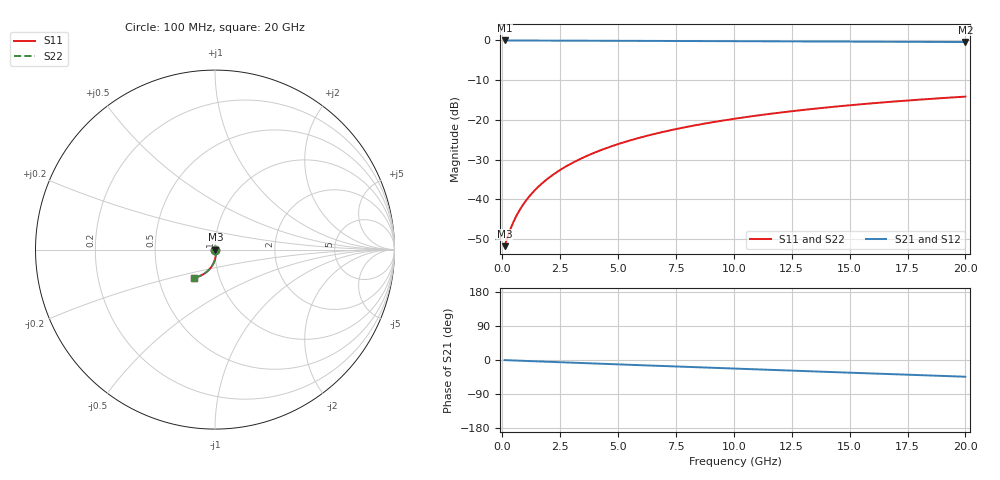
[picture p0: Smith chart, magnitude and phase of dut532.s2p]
! Touchstone file exported from HFSS 2026.1.0
!  File:  C:/ffzhzh/LocalFiles/Ansys_Project_Files/temp_train_BSMRDL_532_1783014789_46388.aedt
!  Generated:  01:54:22 AM Jul  3, 2026
!  Design:  BSMRDL
!  Project:  temp_train_BSMRDL_532_1783014789_46388
! Variables:
!  h_bsmrdl = 5.85um
!  h_ox = 20um
!  h_rdl = 5um
!  h_sub = 80um
!  h_tmrdl = 5um
!  h_tsv = 80um
!  h_via = 3um
!  l_bsmrdl = 774.85um
!  l_sub = 1174.85um
!  l_tmrdl = 200um
!  m_sub = 200um
!  pitch = 24.05um
!  r_tsv = 6um
!  s_tmrdl = 10um
!  w_bsmrdl = 21.18um
!  w_sub = 500um
!  w_tmrdl = 12um
!  x_tsv_center1 = 206um
!  x_tsv_center2 = 1002.03um
!  x_tsv_center3 = 1214.03um
!  x_tsv_center4 = 2010.06um
!  x_tsv_center5 = 2222.06um
!  x_tsv_center6 = 3018.09um
# GHz S MA R 50.000000
! Terminal data exported
! Port[1] = BSM_RDL1_1_T1
! Port[2] = BSM_RDL1_1_T2
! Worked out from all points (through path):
!   200 points, 100 MHz to 20 GHz, reference 50 ohm
!   highest |S21| = -0.02 dB at 100 MHz (marker M1); lowest = -0.4 dB at 20 GHz (marker M2)
!   group delay of S21, straight-line fit = 6.1 ps
!   lowest |S11| = -51.8 dB at 100 MHz (marker M3), VSWR 1.01, Z = 50.3 - j0.0141 ohm
!   |S11| at or under -10 dB: start of sweep to end of sweep
!   |S22| runs from -51.8 to -14.1 dB; largest |S21 - S12| = 4.6e-15
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0.1  0.002583 -3.1  0.9974 -0.3  0.9974 -0.3  0.002583 -3.1
! Gamma 0 0 0 0
! Port Impedance 50 0 50 0
0.3  0.00387 -22.7  0.9964 -0.8  0.9964 -0.8  0.00387 -22.7
0.4  0.004597 -32.2  0.9961 -1.0  0.9961 -1.0  0.004597 -32.2
0.6  0.006136 -46.1  0.9956 -1.5  0.9956 -1.5  0.006136 -46.1
0.7  0.006942 -51.0  0.9954 -1.7  0.9954 -1.7  0.006943 -51.0
0.9  0.00861 -58.3  0.9952 -2.2  0.9952 -2.2  0.008611 -58.3
1.1  0.01034 -63.4  0.9949 -2.6  0.9949 -2.6  0.01034 -63.4
1.3  0.01211 -67.1  0.9946 -3.1  0.9946 -3.1  0.01211 -67.1
1.7  0.01577 -72.2  0.994 -4.0  0.994 -4.0  0.01577 -72.2
2.2  0.02053 -76.2  0.9931 -5.2  0.9931 -5.2  0.02053 -76.2
2.8  0.02647 -79.7  0.9919 -6.6  0.9919 -6.6  0.02648 -79.7
3.5  0.03366 -82.8  0.9905 -8.2  0.9905 -8.2  0.03366 -82.8
4.2  0.04104 -85.5  0.989 -9.8  0.989 -9.8  0.04105 -85.5
5  0.04962 -88.3  0.9873 -11.5  0.9873 -11.5  0.04963 -88.3
5.9  0.05935 -91.3  0.9855 -13.6  0.9855 -13.6  0.05936 -91.3
6.8  0.06909 -94.1  0.9837 -15.5  0.9837 -15.5  0.0691 -94.1
8.3  0.08519 -98.4  0.9806 -18.9  0.9806 -18.9  0.08521 -98.4
10.1  0.1041 -103.4  0.9768 -22.8  0.9768 -22.8  0.1042 -103.3
11.7  0.1205 -107.5  0.9733 -26.3  0.9733 -26.3  0.1206 -107.5
13.4  0.1374 -111.7  0.9694 -30.0  0.9694 -30.0  0.1375 -111.7
16.7  0.1683 -119.6  0.9613 -37.1  0.9613 -37.1  0.1683 -119.5
20  0.1962 -127.1  0.9528 -44.1  0.9528 -44.1  0.1963 -127.0
